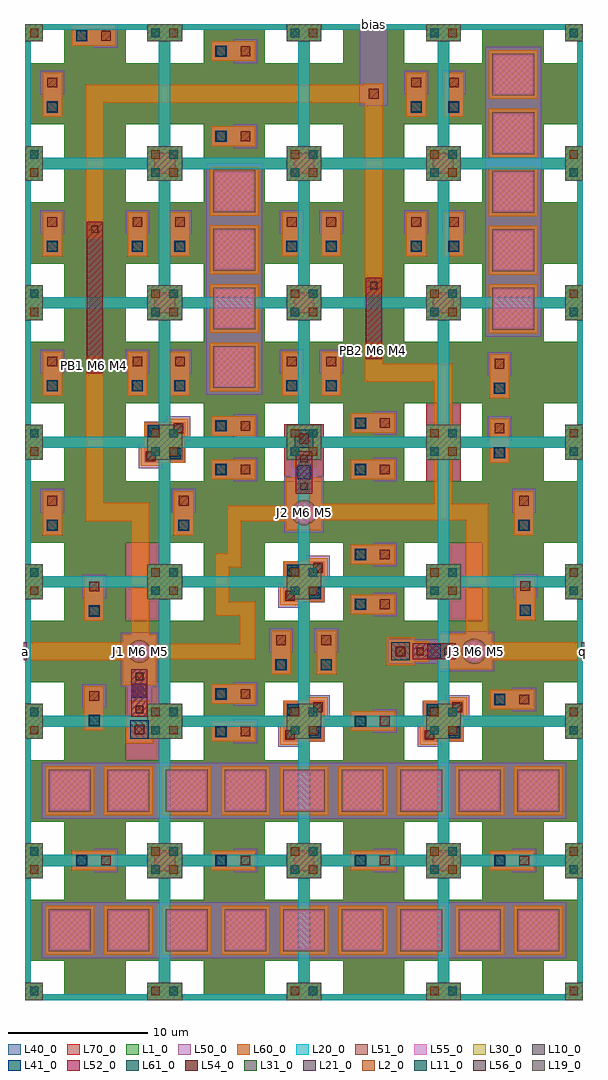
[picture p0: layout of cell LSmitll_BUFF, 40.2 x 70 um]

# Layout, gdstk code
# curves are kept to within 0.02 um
from math import pi, radians
import gdstk
lib = gdstk.Library(unit=1e-6, precision=1e-09)
def R(c, l, rs):  # rectangles x0, y0, x1, y1
    for r in rs: c.add(gdstk.rectangle(r[:2], r[2:], *l))
def A(c, l, x, y, w, h, nx, ny, dx, dy):  # array of equal rectangles
    R(c, l, [(x+i*dx, y+j*dy, x+i*dx+w, y+j*dy+h) for i in range(nx) for j in range(ny)])
def P(c, l, *ps):  # polygons
    for p in ps: c.add(gdstk.Polygon(p, *l))
L1_0 = (1, 0)
L2_0 = (2, 0)
L10_0 = (10, 0)
L11_0 = (11, 0)
L19_0 = (19, 0)
L20_0 = (20, 0)
L21_0 = (21, 0)
L30_0 = (30, 0)
L31_0 = (31, 0)
L40_0 = (40, 0)
L41_0 = (41, 0)
L50_0 = (50, 0)
L51_0 = (51, 0)
L52_0 = (52, 0)
L54_0 = (54, 0)
L55_0 = (55, 0)
L56_0 = (56, 0)
L60_0 = (60, 0)
L61_0 = (61, 0)
L70_0 = (70, 0)

ls_conn_m4m5m6m7 = lib.new_cell('ls_conn_M4M5M6M7')
R(ls_conn_m4m5m6m7, L40_0, [(0,0,1.4,1.4)])
R(ls_conn_m4m5m6m7, L41_0, [(0.3,0.3,1.1,1.1)])
P(ls_conn_m4m5m6m7, L50_0, [(3.3,1.55),(1.6,1.55),(1.6,1.4),(0,1.4),(0,0),(1.6,0),(1.6,-0.15),(3.3,-0.15)])
R(ls_conn_m4m5m6m7, L54_0, [(2.1,0.35,2.8,1.05)])
R(ls_conn_m4m5m6m7, L60_0, [(0,0,3.15,1.4)])
R(ls_conn_m4m5m6m7, L61_0, [(0.35,0.35,1.05,1.05)])
R(ls_conn_m4m5m6m7, L70_0, [(0,0,1.4,1.4)])

ls_fakejj_3umx3um = lib.new_cell('ls_FakeJJ_3umx3um')
R(ls_fakejj_3umx3um, L40_0, [(-2,-2,2,2)])
R(ls_fakejj_3umx3um, L50_0, [(-2,-2,2,2)])
R(ls_fakejj_3umx3um, L51_0, [(-1.5,-1.5,1.5,1.5)])
R(ls_fakejj_3umx3um, L55_0, [(-1.4,-1.4,1.4,1.4)])
R(ls_fakejj_3umx3um, L60_0, [(-1.75,-1.75,1.75,1.75)])

ls_tr_u_m4 = lib.new_cell('ls_tr_u_M4')
P(ls_tr_u_m4, L1_0, [(10,10),(7.2,10),(7.2,9.6),(8.75,9.6),(8.75,8.75),(9.6,8.75),(9.6,7.2),(7.2,7.2),(7.2,2.8),(9.6,2.8),(9.6,1.25),(8.75,1.25),(8.75,0.4),(7.2,0.4),(7.2,10),(1.25,10),(1.25,9.6),(2.8,9.6),(2.8,7.2),(0.4,7.2),(0.4,2.8),(2.8,2.8),(2.8,0.4),(1.25,0.4),(1.25,1.25),(0.4,1.25),(0.4,8.75),(1.25,8.75),(1.25,10),(0,10),(0,0),(10,0)])
R(ls_tr_u_m4, L2_0, [(9.05,0.35,9.65,0.95), (0.35,9.05,0.95,9.65)])
R(ls_tr_u_m4, L10_0, [(0,0,1.25,1.25), (8.75,0,10,1.25), (0,8.75,1.25,10), (8.75,8.75,10,10)])
R(ls_tr_u_m4, L11_0, [(0.35,0.35,0.95,0.95), (9.05,9.05,9.65,9.65)])
P(ls_tr_u_m4, L20_0, [(10,10),(1.25,10),(1.25,9.6),(8.75,9.6),(8.75,8.75),(9.6,8.75),(9.6,1.25),(8.75,1.25),(8.75,0.4),(1.25,0.4),(1.25,1.25),(0.4,1.25),(0.4,8.75),(1.25,8.75),(1.25,10),(0,10),(0,0),(10,0)])
R(ls_tr_u_m4, L21_0, [(9.05,0.35,9.65,0.95), (0.35,9.05,0.95,9.65)])
R(ls_tr_u_m4, L30_0, [(0,0,1.25,1.25), (8.75,0,10,1.25), (0,8.75,1.25,10), (8.75,8.75,10,10)])
R(ls_tr_u_m4, L31_0, [(0.35,0.35,0.95,0.95), (9.05,9.05,9.65,9.65)])
P(ls_tr_u_m4, L40_0, [(10,10),(7.2,10),(7.2,9.6),(8.75,9.6),(8.75,8.75),(9.6,8.75),(9.6,7.2),(7.2,7.2),(7.2,2.8),(9.6,2.8),(9.6,1.25),(8.75,1.25),(8.75,0.4),(7.2,0.4),(7.2,10),(1.25,10),(1.25,9.6),(2.8,9.6),(2.8,7.2),(0.4,7.2),(0.4,2.8),(2.8,2.8),(2.8,0.4),(1.25,0.4),(1.25,1.25),(0.4,1.25),(0.4,8.75),(1.25,8.75),(1.25,10),(0,10),(0,0),(10,0)])

ls_conn_m5m6m7 = lib.new_cell('ls_conn_M5M6M7')
R(ls_conn_m5m6m7, L50_0, [(-0.5,-0.5,1.2,1.2)])
R(ls_conn_m5m6m7, L54_0, [(0,0,0.7,0.7)])
R(ls_conn_m5m6m7, L60_0, [(-0.65,-0.65,1.35,1.35)])
R(ls_conn_m5m6m7, L61_0, [(-0.3,-0.3,1,1)])
R(ls_conn_m5m6m7, L70_0, [(-0.65,-0.65,1.35,1.35)])

ls_jj_250_sg = lib.new_cell('ls_jj_250_sg')
R(ls_jj_250_sg, L41_0, [(-0.5,2.4,0.5,3.4)])
R(ls_jj_250_sg, L50_0, [(-1.425,-1.425,1.425,2.625), (-0.875,2.625,0.875,6.175)])
P(ls_jj_250_sg, L51_0, [(0,-0.91),(0.18,-0.895),(0.35,-0.84),(0.645,-0.645),(0.84,-0.35),(0.91,0),(0.895,0.18),(0.84,0.35),(0.645,0.645),(0.35,0.84),(0.18,0.895),(0,0.91),(-0.18,0.895),(-0.35,0.84),(-0.645,0.645),(-0.84,0.35),(-0.895,0.18),(-0.91,0),(-0.84,-0.35),(-0.645,-0.645),(-0.35,-0.84),(-0.18,-0.895)])
R(ls_jj_250_sg, L52_0, [(-0.575,1.35,0.575,4.425)])
R(ls_jj_250_sg, L54_0, [(-0.35,4.95,0.35,5.65)])
P(ls_jj_250_sg, L55_0, [(0,-0.76),(0.15,-0.75),(0.29,-0.7),(0.54,-0.54),(0.7,-0.29),(0.75,-0.15),(0.76,0),(0.75,0.15),(0.7,0.29),(0.54,0.54),(0.29,0.7),(0.15,0.75),(0,0.76),(-0.15,0.75),(-0.29,0.7),(-0.54,0.54),(-0.7,0.29),(-0.75,0.15),(-0.76,0),(-0.75,-0.15),(-0.7,-0.29),(-0.54,-0.54),(-0.29,-0.7),(-0.15,-0.75)])
R(ls_jj_250_sg, L56_0, [(-0.26,1.64,0.26,2.16), (-0.26,3.63,0.26,4.15)])
R(ls_jj_250_sg, L60_0, [(-1.275,-1.275,1.275,2.525), (-0.725,3.25,0.725,6.025)])
ls_jj_250_sg.add(gdstk.Reference(ls_conn_m5m6m7, (-0.35,4.95)))

ls_tr_m7 = lib.new_cell('ls_tr_M7')
P(ls_tr_m7, L70_0, [(10,10),(7.2,10),(7.2,9.6),(8.75,9.6),(8.75,8.75),(9.6,8.75),(9.6,7.2),(7.2,7.2),(7.2,2.8),(9.6,2.8),(9.6,1.25),(8.75,1.25),(8.75,0.4),(7.2,0.4),(7.2,10),(1.25,10),(1.25,9.6),(2.8,9.6),(2.8,7.2),(0.4,7.2),(0.4,2.8),(2.8,2.8),(2.8,0.4),(1.25,0.4),(1.25,1.25),(0.4,1.25),(0.4,8.75),(1.25,8.75),(1.25,10),(0,10),(0,0),(10,0)])

ls_conn_m4m5m6m7_block = lib.new_cell('ls_conn_M4M5M6M7_block')
R(ls_conn_m4m5m6m7_block, L40_0, [(-1.475,-1.475,1.475,1.475)])
R(ls_conn_m4m5m6m7_block, L41_0, [(0.375,-1.175,1.175,-0.375), (-1.175,0.375,-0.375,1.175)])
P(ls_conn_m4m5m6m7_block, L50_0, [(1.85,1.85),(0.15,1.85),(0.15,1.475),(-1.475,1.475),(-1.475,-0.15),(-1.85,-0.15),(-1.85,-1.85),(-0.15,-1.85),(-0.15,-1.475),(1.475,-1.475),(1.475,0.15),(1.85,0.15)])
R(ls_conn_m4m5m6m7_block, L54_0, [(-1.35,-1.35,-0.65,-0.65), (0.65,0.65,1.35,1.35)])
P(ls_conn_m4m5m6m7_block, L60_0, [(1.7,1.7),(0.3,1.7),(0.3,1.45),(-1.45,1.45),(-1.45,-0.3),(-1.7,-0.3),(-1.7,-1.7),(-0.3,-1.7),(-0.3,-1.45),(1.45,-1.45),(1.45,0.3),(1.7,0.3)])
R(ls_conn_m4m5m6m7_block, L61_0, [(0.35,-1.05,1.05,-0.35), (-1.05,0.35,-0.35,1.05)])
R(ls_conn_m4m5m6m7_block, L70_0, [(-1.45,-1.45,1.45,1.45)])

ls_jj_200_sg = lib.new_cell('ls_jj_200_sg')
R(ls_jj_200_sg, L41_0, [(-0.5,2.325,0.5,3.325)])
R(ls_jj_200_sg, L50_0, [(-1.35,-1.35,1.35,2.525), (-0.875,2.525,0.875,6.45)])
P(ls_jj_200_sg, L51_0, [(0,-0.815),(0.315,-0.755),(0.58,-0.575),(0.755,-0.31),(0.815,0),(0.755,0.315),(0.58,0.58),(0.315,0.76),(0,0.82),(-0.315,0.76),(-0.58,0.58),(-0.755,0.315),(-0.815,0),(-0.755,-0.31),(-0.58,-0.575),(-0.315,-0.755)])
R(ls_jj_200_sg, L52_0, [(-0.575,1.275,0.575,4.7)])
P(ls_jj_200_sg, L55_0, [(0,-0.67),(0.27,-0.62),(0.37,-0.56),(0.57,-0.37),(0.67,-0.13),(0.67,0.13),(0.57,0.37),(0.27,0.61),(0,0.67),(-0.27,0.61),(-0.47,0.47),(-0.57,0.37),(-0.67,0.13),(-0.67,-0.13),(-0.57,-0.37),(-0.27,-0.62)])
R(ls_jj_200_sg, L56_0, [(-0.26,1.54,0.26,2.06), (-0.26,3.91,0.26,4.43)])
R(ls_jj_200_sg, L60_0, [(-1.2,-1.2,1.2,2.425), (-0.725,3.525,0.725,6.3)])
ls_jj_200_sg.add(gdstk.Reference(ls_conn_m5m6m7, (-0.35,5.25)))

ls_ib_160 = lib.new_cell('ls_ib_160')
R(ls_ib_160, L52_0, [(-0.575,0,0.575,10.85)])
R(ls_ib_160, L56_0, [(-0.26,0.29,0.26,0.81), (-0.26,10.07,0.26,10.59)])
R(ls_ib_160, L60_0, [(-0.625,-0.1,0.625,1.175), (-0.625,9.7,0.625,10.95)])

ls_ib_350 = lib.new_cell('ls_ib_350')
R(ls_ib_350, L52_0, [(-0.575,0,0.575,5.8)])
R(ls_ib_350, L56_0, [(-0.26,0.29,0.26,0.81), (-0.26,4.99,0.26,5.51)])
R(ls_ib_350, L60_0, [(-0.625,-0.1,0.625,1.175), (-0.625,4.625,0.625,5.9)])

ls_conn_m5m6 = lib.new_cell('ls_conn_M5M6')
R(ls_conn_m5m6, L50_0, [(0,0,1.7,1.7)])
R(ls_conn_m5m6, L54_0, [(0.5,0.5,1.2,1.2)])
R(ls_conn_m5m6, L60_0, [(0.15,0.15,1.55,1.55)])

ls_fakejj_1p5x1p5um = lib.new_cell('ls_FakeJJ_1p5x1p5um')
R(ls_fakejj_1p5x1p5um, L40_0, [(-1.25,-1.25,1.25,1.25)])
R(ls_fakejj_1p5x1p5um, L50_0, [(-1.25,-1.25,1.25,1.25)])
R(ls_fakejj_1p5x1p5um, L51_0, [(-0.75,-0.75,0.75,0.75)])
R(ls_fakejj_1p5x1p5um, L55_0, [(-0.65,-0.65,0.65,0.65)])
R(ls_fakejj_1p5x1p5um, L60_0, [(-1,-1,1,1)])

lsmitll_buff = lib.new_cell('LSmitll_BUFF')
R(lsmitll_buff, L19_0, [(4.75,45.25,5.25,45.75), (24.75,46.3,25.25,46.8)])
R(lsmitll_buff, L40_0, [(7.2,17.2,9.6,22.8), (7.2,27.2,9.6,32.8), (30.4,27.2,32.8,32.8), (18.575,37.2,21.425,41.3), (28.75,37.2,31.25,42.8)])
A(lsmitll_buff, L50_0, 5.2, 3, 0.2, 4, 8, 2, 4.2, 10)
A(lsmitll_buff, L50_0, 13, 47.4, 4, 0.2, 1, 3, 0, 4.2)
A(lsmitll_buff, L50_0, 33, 51.575, 4, 0.2, 1, 4, 0, 4.2)
R(lsmitll_buff, L50_0, [(3.35,69.85,4.95,70)])
R(lsmitll_buff, L60_0, [(3.35,69.85,6.5,70)])
R(lsmitll_buff, L70_0, [(7.2,17.2,9.6,22.8), (7.2,27.2,9.6,32.8), (30.4,27.2,32.8,32.8), (18.575,37.2,21.425,41.3), (28.75,37.2,31.25,42.8)])
lsmitll_buff.add(gdstk.FlexPath([(7.15,25),(0,25)], 1.3, ends="flush", simple_path=True, layer=60, datatype=0))  # L60_0
lsmitll_buff.add(gdstk.FlexPath([(40,25),(33.4,25)], 1.3, ends="flush", simple_path=True, layer=60, datatype=0))  # L60_0
lsmitll_buff.add(gdstk.FlexPath([(0,25.65),(0,24.35)], 0.2, ends="flush", simple_path=True, layer=19, datatype=0))  # L19_0
lsmitll_buff.add(gdstk.FlexPath([(40,25.65),(40,24.35)], 0.2, ends="flush", simple_path=True, layer=19, datatype=0))  # L19_0
lsmitll_buff.add(gdstk.FlexPath([(8.25,26.1),(8.25,35),(5,35),(5,46.125)], 1.3, ends="flush", simple_path=True, layer=60, datatype=0))  # L60_0
lsmitll_buff.add(gdstk.FlexPath([(32.4,26.25),(32.4,35)], 1.6, ends="flush", simple_path=True, layer=60, datatype=0))  # L60_0
lsmitll_buff.add(gdstk.FlexPath([(33.2,35),(30,35)], 1.2, ends="flush", simple_path=True, layer=60, datatype=0))  # L60_0
lsmitll_buff.add(gdstk.FlexPath([(30,35),(21.275,35)], 1.2, ends="flush", simple_path=True, layer=60, datatype=0))  # L60_0
lsmitll_buff.add(gdstk.FlexPath([(30,35.2),(30,45)], 1.3, ends="flush", simple_path=True, layer=60, datatype=0))  # L60_0
lsmitll_buff.add(gdstk.FlexPath([(30.65,45),(24.85,45)], 1.3, ends="flush", simple_path=True, layer=60, datatype=0))  # L60_0
lsmitll_buff.add(gdstk.FlexPath([(25,44.35),(25,47.175)], 1.3, ends="flush", simple_path=True, layer=60, datatype=0))  # L60_0
lsmitll_buff.add(gdstk.FlexPath([(18.725,34.9),(14.5,34.9)], 1.1, ends="flush", simple_path=True, layer=60, datatype=0))  # L60_0
lsmitll_buff.add(gdstk.FlexPath([(15,34.4),(15,31.025)], 1, ends="flush", simple_path=True, layer=60, datatype=0))  # L60_0
lsmitll_buff.add(gdstk.FlexPath([(15.5,31.525),(13.625,31.525)], 1, ends="flush", simple_path=True, layer=60, datatype=0))  # L60_0
lsmitll_buff.add(gdstk.FlexPath([(14.125,31.025),(14.125,27.55)], 1, ends="flush", simple_path=True, layer=60, datatype=0))  # L60_0
lsmitll_buff.add(gdstk.FlexPath([(13.625,28.05),(16.5,28.05)], 1, ends="flush", simple_path=True, layer=60, datatype=0))  # L60_0
lsmitll_buff.add(gdstk.FlexPath([(15.95,27.55),(15.95,24.5)], 1.1, ends="flush", simple_path=True, layer=60, datatype=0))  # L60_0
lsmitll_buff.add(gdstk.FlexPath([(16.5,25),(9.35,25)], 1.1, ends="flush", simple_path=True, layer=60, datatype=0))  # L60_0
lsmitll_buff.add(gdstk.FlexPath([(25,64.15),(25,70)], 2, ends="flush", simple_path=True, layer=50, datatype=0))  # L50_0
lsmitll_buff.add(gdstk.FlexPath([(25,65),(25,50.625)], 1.3, ends="flush", simple_path=True, layer=60, datatype=0))  # L60_0
lsmitll_buff.add(gdstk.FlexPath([(25.7,65),(5,65),(5,54.65)], 1.3, ends="flush", simple_path=True, layer=60, datatype=0))  # L60_0
lsmitll_buff.add(gdstk.Reference(ls_conn_m4m5m6m7, (31.45,53.35), rotation=pi/2))
lsmitll_buff.add(gdstk.Reference(ls_conn_m4m5m6m7, (31.45,63.35), rotation=pi/2))
lsmitll_buff.add(gdstk.Reference(ls_conn_m4m5m6m7, (19.825,53.35), rotation=pi/2))
lsmitll_buff.add(gdstk.Reference(ls_conn_m4m5m6m7, (11.8,53.35), rotation=pi/2))
lsmitll_buff.add(gdstk.Reference(ls_conn_m4m5m6m7, (11.8,43.35), rotation=pi/2))
lsmitll_buff.add(gdstk.Reference(ls_conn_m4m5m6m7, (19.825,43.35), rotation=pi/2))
lsmitll_buff.add(gdstk.Reference(ls_conn_m4m5m6m7, (13.35,40.475)))
lsmitll_buff.add(gdstk.Reference(ls_fakejj_3umx3um, (35,66.375)))
lsmitll_buff.add(gdstk.Reference(ls_fakejj_3umx3um, (35,62.175)))
lsmitll_buff.add(gdstk.Reference(ls_fakejj_3umx3um, (35,57.975)))
lsmitll_buff.add(gdstk.Reference(ls_fakejj_3umx3um, (35,53.775)))
lsmitll_buff.add(gdstk.Reference(ls_fakejj_3umx3um, (35,49.575)))
lsmitll_buff.add(gdstk.Reference(ls_fakejj_3umx3um, (15,45.4)))
lsmitll_buff.add(gdstk.Reference(ls_fakejj_3umx3um, (15,49.6)))
lsmitll_buff.add(gdstk.Reference(ls_fakejj_3umx3um, (15,53.8)))
lsmitll_buff.add(gdstk.Reference(ls_conn_m4m5m6m7, (13.35,18.55)))
lsmitll_buff.add(gdstk.Reference(ls_conn_m4m5m6m7, (23.35,19.3)))
lsmitll_buff.add(gdstk.Reference(ls_conn_m4m5m6m7, (3.35,9.3)))
lsmitll_buff.add(gdstk.Reference(ls_conn_m4m5m6m7, (13.35,9.3)))
lsmitll_buff.add(gdstk.Reference(ls_conn_m4m5m6m7, (33.35,9.3)))
lsmitll_buff.add(gdstk.Reference(ls_conn_m4m5m6m7, (23.35,9.3)))
lsmitll_buff.add(gdstk.Reference(ls_fakejj_3umx3um, (3.2,15)))
lsmitll_buff.add(gdstk.Reference(ls_fakejj_3umx3um, (7.4,15)))
lsmitll_buff.add(gdstk.Reference(ls_fakejj_3umx3um, (11.6,15)))
lsmitll_buff.add(gdstk.Reference(ls_fakejj_3umx3um, (15.8,15)))
lsmitll_buff.add(gdstk.Reference(ls_fakejj_3umx3um, (20,15)))
lsmitll_buff.add(gdstk.Reference(ls_fakejj_3umx3um, (24.2,15)))
lsmitll_buff.add(gdstk.Reference(ls_fakejj_3umx3um, (28.4,15)))
lsmitll_buff.add(gdstk.Reference(ls_fakejj_3umx3um, (32.6,15)))
lsmitll_buff.add(gdstk.Reference(ls_fakejj_3umx3um, (36.8,15)))
lsmitll_buff.add(gdstk.Reference(ls_fakejj_3umx3um, (36.8,5)))
lsmitll_buff.add(gdstk.Reference(ls_fakejj_3umx3um, (32.6,5)))
lsmitll_buff.add(gdstk.Reference(ls_fakejj_3umx3um, (28.4,5)))
lsmitll_buff.add(gdstk.Reference(ls_fakejj_3umx3um, (24.2,5)))
lsmitll_buff.add(gdstk.Reference(ls_fakejj_3umx3um, (20,5)))
lsmitll_buff.add(gdstk.Reference(ls_fakejj_3umx3um, (15.8,5)))
lsmitll_buff.add(gdstk.Reference(ls_fakejj_3umx3um, (11.6,5)))
lsmitll_buff.add(gdstk.Reference(ls_fakejj_3umx3um, (7.4,5)))
lsmitll_buff.add(gdstk.Reference(ls_conn_m4m5m6m7, (34.725,43.175), rotation=pi/2))
lsmitll_buff.add(gdstk.Reference(ls_conn_m4m5m6m7, (34.725,38.55), rotation=pi/2))
lsmitll_buff.add(gdstk.Reference(ls_conn_m4m5m6m7, (23.35,40.675)))
lsmitll_buff.add(gdstk.Reference(ls_conn_m4m5m6m7, (3.35,68.45)))
lsmitll_buff.add(gdstk.Reference(ls_conn_m4m5m6m7, (13.35,67.35)))
lsmitll_buff.add(gdstk.Reference(ls_conn_m4m5m6m7, (13.35,61.25)))
lsmitll_buff.add(gdstk.Reference(ls_conn_m4m5m6m7, (8.75,53.35), rotation=pi/2))
lsmitll_buff.add(gdstk.Reference(ls_conn_m4m5m6m7, (2.65,53.35), rotation=pi/2))
lsmitll_buff.add(gdstk.Reference(ls_conn_m4m5m6m7, (2.65,63.35), rotation=pi/2))
lsmitll_buff.add(gdstk.Reference(ls_conn_m4m5m6m7, (28.75,63.35), rotation=pi/2))
lsmitll_buff.add(gdstk.Reference(ls_conn_m4m5m6m7, (13.35,37.35)))
lsmitll_buff.add(gdstk.Reference(ls_conn_m4m5m6m7, (23.35,37.35)))
lsmitll_buff.add(gdstk.Reference(ls_conn_m4m5m6m7, (23.35,31.25)))
lsmitll_buff.add(gdstk.Reference(ls_conn_m4m5m6m7, (33.35,20.85)))
lsmitll_buff.add(gdstk.Reference(ls_conn_m4m5m6m7, (12.075,33.35), rotation=pi/2))
lsmitll_buff.add(gdstk.Reference(ls_conn_m4m5m6m7, (5.65,19.35), rotation=pi/2))
lsmitll_buff.add(gdstk.Reference(ls_conn_m4m5m6m7, (5.65,27.2), rotation=pi/2))
lsmitll_buff.add(gdstk.Reference(ls_conn_m4m5m6m7, (22.65,53.35), rotation=pi/2))
lsmitll_buff.add(gdstk.Reference(ls_conn_m4m5m6m7, (28.75,53.35), rotation=pi/2))
lsmitll_buff.add(gdstk.Reference(ls_conn_m4m5m6m7, (36.475,33.35), rotation=pi/2))
lsmitll_buff.add(gdstk.Reference(ls_conn_m4m5m6m7, (19.05,23.35), rotation=pi/2))
lsmitll_buff.add(gdstk.Reference(ls_conn_m4m5m6m7, (36.575,27.25), rotation=pi/2))
lsmitll_buff.add(gdstk.Reference(ls_conn_m4m5m6m7, (13.35,21.25)))
lsmitll_buff.add(gdstk.Reference(ls_tr_u_m4, (30,60)))
lsmitll_buff.add(gdstk.Reference(ls_tr_u_m4, (30,50)))
lsmitll_buff.add(gdstk.Reference(ls_tr_u_m4, (30,40)))
lsmitll_buff.add(gdstk.Reference(ls_tr_u_m4, (30,30)))
lsmitll_buff.add(gdstk.Reference(ls_tr_u_m4, (30,20)))
lsmitll_buff.add(gdstk.Reference(ls_tr_u_m4, (30,10)))
lsmitll_buff.add(gdstk.Reference(ls_tr_u_m4, (30,0)))
lsmitll_buff.add(gdstk.Reference(ls_tr_u_m4, (20,0)))
lsmitll_buff.add(gdstk.Reference(ls_tr_u_m4, (20,10)))
lsmitll_buff.add(gdstk.Reference(ls_tr_u_m4, (20,20)))
lsmitll_buff.add(gdstk.Reference(ls_tr_u_m4, (20,30)))
lsmitll_buff.add(gdstk.Reference(ls_tr_u_m4, (20,40)))
lsmitll_buff.add(gdstk.Reference(ls_tr_u_m4, (20,50)))
lsmitll_buff.add(gdstk.Reference(ls_tr_u_m4, (20,60)))
lsmitll_buff.add(gdstk.Reference(ls_tr_u_m4, (10,60)))
lsmitll_buff.add(gdstk.Reference(ls_tr_u_m4, (10,50)))
lsmitll_buff.add(gdstk.Reference(ls_tr_u_m4, (10,40)))
lsmitll_buff.add(gdstk.Reference(ls_tr_u_m4, (10,30)))
lsmitll_buff.add(gdstk.Reference(ls_tr_u_m4, (10,20)))
lsmitll_buff.add(gdstk.Reference(ls_tr_u_m4, (10,10)))
lsmitll_buff.add(gdstk.Reference(ls_tr_u_m4, (10,0)))
lsmitll_buff.add(gdstk.Reference(ls_tr_u_m4, (0,0)))
lsmitll_buff.add(gdstk.Reference(ls_tr_u_m4, (0,10)))
lsmitll_buff.add(gdstk.Reference(ls_tr_u_m4, (0,20)))
lsmitll_buff.add(gdstk.Reference(ls_tr_u_m4, (0,30)))
lsmitll_buff.add(gdstk.Reference(ls_tr_u_m4, (0,40)))
lsmitll_buff.add(gdstk.Reference(ls_tr_u_m4, (0,50)))
lsmitll_buff.add(gdstk.Reference(ls_tr_u_m4, (0,60)))
lsmitll_buff.add(gdstk.Reference(ls_jj_250_sg, (20,34.95)))
lsmitll_buff.add(gdstk.Reference(ls_jj_250_sg, (32.225,25), rotation=pi/2))
r = gdstk.Reference(ls_tr_m7, (0,0)); r.repetition = gdstk.Repetition(4, 7, v1=(10,0), v2=(0,10)); lsmitll_buff.add(r)
lsmitll_buff.add(gdstk.Reference(ls_conn_m4m5m6m7_block, (20,20)))
lsmitll_buff.add(gdstk.Reference(ls_conn_m4m5m6m7_block, (20,30)))
lsmitll_buff.add(gdstk.Reference(ls_conn_m4m5m6m7_block, (10,40)))
lsmitll_buff.add(gdstk.Reference(ls_jj_200_sg, (8.2,25), rotation=pi))
lsmitll_buff.add(gdstk.Reference(ls_ib_160, (5,44.95)))
lsmitll_buff.add(gdstk.Reference(ls_ib_350, (25,46)))
lsmitll_buff.add(gdstk.Reference(ls_conn_m4m5m6m7_block, (30,20)))
lsmitll_buff.add(gdstk.Reference(ls_conn_m4m5m6m7, (23.35,27.675)))
lsmitll_buff.add(gdstk.Reference(ls_conn_m4m5m6m7, (22.3,23.35), rotation=pi/2))
lsmitll_buff.add(gdstk.Reference(ls_conn_m4m5m6m7, (22.65,43.35), rotation=pi/2))
lsmitll_buff.add(gdstk.Reference(ls_conn_m4m5m6m7, (8.75,43.35), rotation=pi/2))
lsmitll_buff.add(gdstk.Reference(ls_conn_m4m5m6m7, (2.65,43.35), rotation=pi/2))
lsmitll_buff.add(gdstk.Reference(ls_conn_m4m5m6m7, (2.65,33.35), rotation=pi/2))
lsmitll_buff.add(gdstk.Reference(ls_conn_m5m6, (24.15,64.15)))
lsmitll_buff.add(gdstk.Reference(ls_fakejj_1p5x1p5um, (10,60)))
lsmitll_buff.add(gdstk.Reference(ls_fakejj_1p5x1p5um, (20,60)))
lsmitll_buff.add(gdstk.Reference(ls_fakejj_1p5x1p5um, (30,60)))
lsmitll_buff.add(gdstk.Reference(ls_fakejj_1p5x1p5um, (30,50)))
lsmitll_buff.add(gdstk.Reference(ls_fakejj_1p5x1p5um, (20,50)))
lsmitll_buff.add(gdstk.Reference(ls_fakejj_1p5x1p5um, (10,50)))
lsmitll_buff.add(gdstk.Reference(ls_fakejj_1p5x1p5um, (10,10)))
lsmitll_buff.add(gdstk.Reference(ls_fakejj_1p5x1p5um, (20,10)))
lsmitll_buff.add(gdstk.Reference(ls_fakejj_1p5x1p5um, (30,10)))
lsmitll_buff.add(gdstk.Reference(ls_fakejj_3umx3um, (3.2,5)))
lsmitll_buff.add(gdstk.Reference(ls_fakejj_3umx3um, (15,58)))
lsmitll_buff.add(gdstk.Label('a', (0,25), layer=182, texttype=0))
lsmitll_buff.add(gdstk.Label('bias', (25,70), layer=182, texttype=0))
lsmitll_buff.add(gdstk.Label('q', (40,25), layer=182, texttype=0))
lsmitll_buff.add(gdstk.Label('P1 M6 M4', (0,25), layer=182, texttype=0))
lsmitll_buff.add(gdstk.Label('J1 M6 M5', (8.275,24.975), layer=182, texttype=0))
lsmitll_buff.add(gdstk.Label('PB1 M6 M4', (5,45.5), layer=182, texttype=0))
lsmitll_buff.add(gdstk.Label('J2 M6 M5', (20,35), layer=182, texttype=0))
lsmitll_buff.add(gdstk.Label('J3 M6 M5', (32.4,25), layer=182, texttype=0))
lsmitll_buff.add(gdstk.Label('PB2 M6 M4', (25,46.55), layer=182, texttype=0))
lsmitll_buff.add(gdstk.Label('P2 M6 M4', (40,24.925), layer=182, texttype=0))

lib.write_gds('LSmitll_BUFF.gds')
